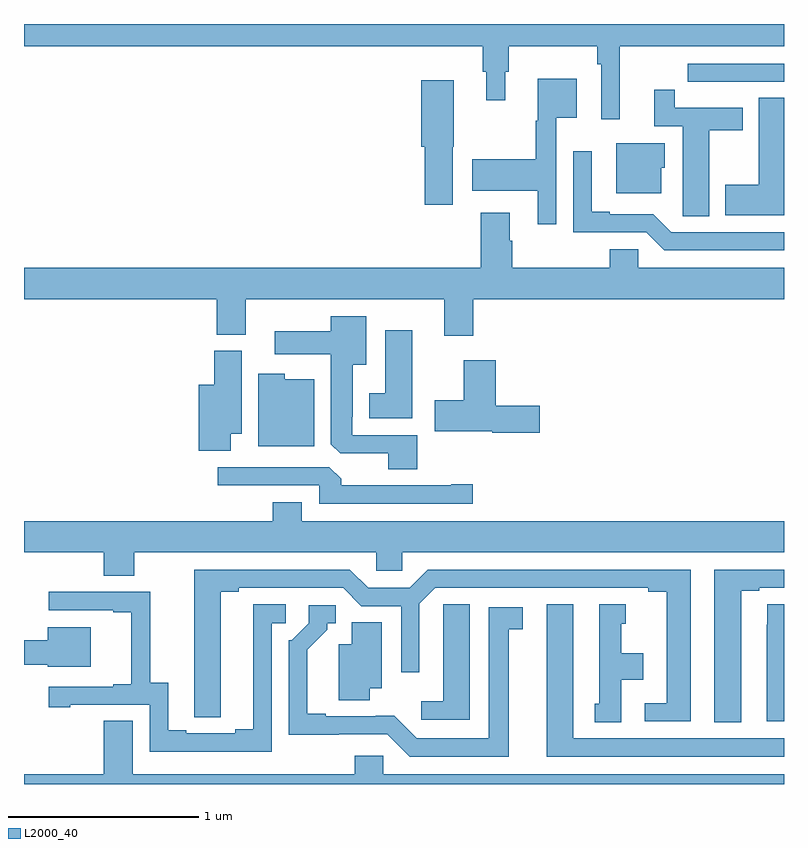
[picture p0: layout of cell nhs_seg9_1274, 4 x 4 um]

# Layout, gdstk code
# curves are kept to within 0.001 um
import gdstk
lib = gdstk.Library(unit=1e-6, precision=1e-09)
def P(c, l, *ps):  # polygons
    for p in ps: c.add(gdstk.Polygon(p, *l))
L2000_40 = (2000, 40)

nhs_seg9_1274 = lib.new_cell('nhs_seg9_1274')
P(nhs_seg9_1274, L2000_40, [(181,1232.384),(183.415,1232.384),(183.415,1232.25),(183.434,1232.25),(183.434,1232.1),(183.532,1232.1),(183.532,1232.25),(183.551,1232.25),(183.551,1232.384),(184.018,1232.384),(184.018,1232.288),(184.038,1232.288),(184.038,1231.998),(184.136,1231.998),(184.136,1232.384),(185,1232.384),(185,1232.5),(181,1232.5)],
  [(184.772,1232.196),(185,1232.196),(185,1232.292),(184.494,1232.292),(184.494,1232.196),(184.606,1232.196),(184.606,1232.195),(184.772,1232.195)],
  [(183.801,1232.006),(183.91,1232.006),(183.91,1232.212),(183.704,1232.212),(183.704,1231.992),(183.693,1231.992),(183.693,1231.788),(183.36,1231.788),(183.36,1231.622),(183.704,1231.622),(183.704,1231.446),(183.801,1231.446)],
  [(183.256,1231.854),(183.262,1231.854),(183.262,1232.203),(183.092,1232.203),(183.092,1231.854),(183.11,1231.854),(183.11,1231.548),(183.256,1231.548)],
  [(184.606,1231.942),(184.783,1231.942),(184.783,1232.058),(184.424,1232.058),(184.424,1232.155),(184.316,1232.155),(184.316,1231.962),(184.466,1231.962),(184.466,1231.6),(184.467,1231.6),(184.467,1231.489),(184.606,1231.489)],
  [(185,1232.111),(184.868,1232.111),(184.868,1231.653),(184.691,1231.653),(184.691,1231.493),(185,1231.493)],
  [(184.354,1231.743),(184.372,1231.743),(184.372,1231.873),(184.118,1231.873),(184.118,1231.61),(184.354,1231.61)],
  [(185,1231.404),(184.407,1231.404),(184.311,1231.5),(184.084,1231.5),(184.084,1231.513),(183.988,1231.513),(183.988,1231.831),(183.891,1231.831),(183.891,1231.404),(184.275,1231.404),(184.371,1231.308),(185,1231.308)],
  [(183.365,1231.052),(185,1231.052),(185,1231.216),(184.233,1231.216),(184.233,1231.314),(184.082,1231.314),(184.082,1231.216),(183.569,1231.216),(183.569,1231.358),(183.556,1231.358),(183.556,1231.507),(183.404,1231.507),(183.404,1231.216),(181,1231.216),(181,1231.052),(182.015,1231.052),(182.015,1230.865),(182.167,1230.865),(182.167,1231.052),(183.212,1231.052),(183.212,1230.858),(183.365,1230.858)],
  [(183.071,1230.336),(182.727,1230.336),(182.727,1230.433),(182.731,1230.433),(182.731,1230.707),(182.8,1230.707),(182.8,1230.961),(182.615,1230.961),(182.615,1230.883),(182.319,1230.883),(182.319,1230.761),(182.615,1230.761),(182.615,1230.289),(182.664,1230.24),(182.918,1230.24),(182.918,1230.157),(183.071,1230.157)],
  [(183.043,1230.889),(182.9,1230.889),(182.9,1230.556),(182.816,1230.556),(182.816,1230.425),(183.043,1230.425)],
  [(182.089,1230.344),(182.146,1230.344),(182.146,1230.78),(182,1230.78),(182,1230.601),(181.919,1230.601),(181.919,1230.253),(182.089,1230.253)],
  [(183.715,1230.491),(183.482,1230.491),(183.482,1230.73),(183.314,1230.73),(183.314,1230.519),(183.162,1230.519),(183.162,1230.356),(183.465,1230.356),(183.465,1230.349),(183.715,1230.349)],
  [(182.527,1230.631),(182.373,1230.631),(182.373,1230.658),(182.234,1230.658),(182.234,1230.278),(182.527,1230.278)],
  [(183.361,1230.077),(183.248,1230.077),(183.248,1230.072),(182.669,1230.072),(182.669,1230.106),(182.607,1230.168),(182.019,1230.168),(182.019,1230.072),(182.553,1230.072),(182.553,1229.976),(183.361,1229.976)],
  [(181.581,1229.72),(182.853,1229.72),(182.853,1229.622),(182.991,1229.622),(182.991,1229.72),(185,1229.72),(185,1229.884),(182.461,1229.884),(182.461,1229.983),(182.309,1229.983),(182.309,1229.884),(181,1229.884),(181,1229.72),(181.421,1229.72),(181.421,1229.596),(181.581,1229.596)],
  [(184.51,1229.628),(183.125,1229.628),(183.029,1229.532),(182.811,1229.532),(182.715,1229.628),(181.895,1229.628),(181.896,1228.852),(182.035,1228.852),(182.035,1229.512),(182.131,1229.512),(182.131,1229.532),(182.679,1229.532),(182.775,1229.436),(182.985,1229.436),(182.985,1229.088),(183.081,1229.088),(183.081,1229.448),(183.165,1229.532),(184.286,1229.532),(184.286,1229.512),(184.382,1229.512),(184.382,1228.926),(184.266,1228.926),(184.266,1228.83),(184.51,1228.83)],
  [(184.774,1229.517),(184.87,1229.517),(184.87,1229.532),(185,1229.532),(185,1229.628),(184.634,1229.628),(184.634,1228.825),(184.774,1228.825)],
  [(182.304,1229.346),(182.377,1229.346),(182.377,1229.447),(182.207,1229.447),(182.207,1228.787),(182.111,1228.787),(182.111,1228.767),(181.855,1228.767),(181.855,1228.782),(181.759,1228.782),(181.759,1229.033),(181.665,1229.033),(181.665,1229.511),(181.131,1229.511),(181.131,1229.415),(181.469,1229.415),(181.469,1229.403),(181.565,1229.403),(181.565,1229.026),(181.469,1229.026),(181.469,1229.013),(181.131,1229.013),(181.131,1228.905),(181.243,1228.905),(181.243,1228.917),(181.662,1228.917),(181.662,1228.671),(182.304,1228.671)],
  [(183.346,1229.447),(183.207,1229.447),(183.207,1229.339),(183.206,1229.339),(183.206,1228.936),(183.09,1228.936),(183.09,1228.839),(183.346,1228.839)],
  [(185,1229.447),(184.911,1229.447),(184.911,1229.339),(184.91,1229.339),(184.91,1228.829),(185,1228.829)],
  [(185,1228.74),(183.892,1228.74),(183.892,1229.446),(183.752,1229.446),(183.752,1228.644),(185,1228.644)],
  [(184.144,1229.048),(184.258,1229.048),(184.258,1229.188),(184.144,1229.188),(184.144,1229.343),(184.168,1229.343),(184.168,1229.446),(184.028,1229.446),(184.028,1228.923),(184.004,1228.923),(184.004,1228.825),(184.144,1228.825)],
  [(183.55,1229.314),(183.625,1229.314),(183.625,1229.43),(183.446,1229.43),(183.446,1228.74),(183.066,1228.74),(182.948,1228.858),(182.587,1228.857),(182.587,1228.87),(182.491,1228.87),(182.491,1229.206),(182.596,1229.311),(182.596,1229.346),(182.641,1229.346),(182.641,1229.442),(182.499,1229.442),(182.499,1229.346),(182.409,1229.256),(182.394,1229.256),(182.394,1228.76),(182.913,1228.761),(183.03,1228.644),(183.55,1228.644)],
  [(182.821,1229.003),(182.884,1229.003),(182.884,1229.351),(182.726,1229.351),(182.726,1229.236),(182.657,1229.236),(182.657,1228.942),(182.821,1228.942)],
  [(181.351,1229.326),(181.124,1229.326),(181.124,1229.257),(181,1229.257),(181,1229.128),(181.124,1229.128),(181.124,1229.117),(181.351,1229.117)],
  [(185,1228.552),(182.892,1228.552),(182.892,1228.65),(182.741,1228.65),(182.741,1228.552),(181.573,1228.552),(181.573,1228.832),(181.421,1228.832),(181.421,1228.552),(181,1228.552),(181,1228.5),(185,1228.5)])

lib.write_gds('nhs_seg9_1274.gds')
